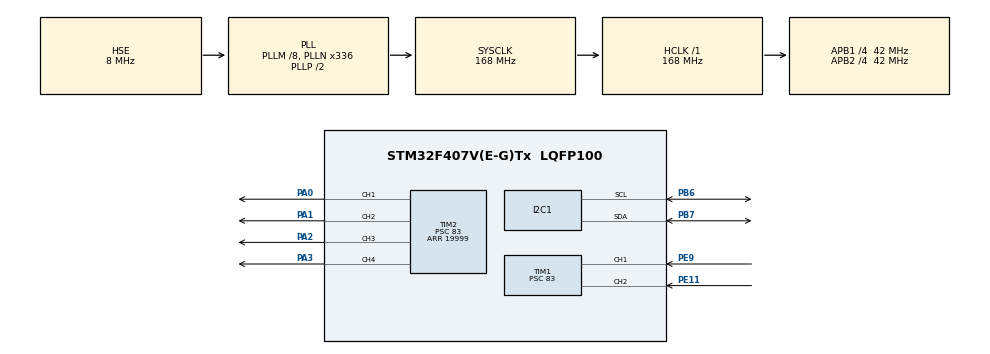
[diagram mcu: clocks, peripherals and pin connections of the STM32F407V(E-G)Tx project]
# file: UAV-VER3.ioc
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I2C1.I2C_Mode=I2C_Fast
Mcu.Family=STM32F4
Mcu.Name=STM32F407V(E-G)Tx
Mcu.Package=LQFP100
NVIC.PriorityGroup=NVIC_PRIORITYGROUP_4
NVIC.TIM1_CC_IRQn=true\:0\:0\:true\:false\:true\:true\:true
NVIC.TIM3_IRQn=true\:0\:0\:true\:false\:true\:true\:true
PA0-WKUP.Signal=S_TIM2_CH1_ETR
PA1.Signal=S_TIM2_CH2
PA2.Signal=S_TIM2_CH3
PA3.Signal=S_TIM2_CH4
PB6.Mode=I2C
PB6.Signal=I2C1_SCL
PB7.Mode=I2C
PB7.Signal=I2C1_SDA
PE11.Signal=S_TIM1_CH2
PE9.Signal=S_TIM1_CH1
PH0-OSC_IN.Mode=HSE-External-Oscillator
PH0-OSC_IN.Signal=RCC_OSC_IN
PH1-OSC_OUT.Mode=HSE-External-Oscillator
PH1-OSC_OUT.Signal=RCC_OSC_OUT
ProjectManager.HeapSize=0x200
ProjectManager.StackSize=0x400
ProjectManager.TargetToolchain=MDK-ARM V5
RCC.48MHZClocksFreq_Value=84000000
RCC.AHBFreq_Value=168000000
RCC.APB1CLKDivider=RCC_HCLK_DIV4
RCC.APB1Freq_Value=42000000
RCC.APB1TimFreq_Value=84000000
RCC.APB2CLKDivider=RCC_HCLK_DIV4
RCC.APB2Freq_Value=42000000
RCC.APB2TimFreq_Value=84000000
RCC.CortexFreq_Value=168000000
RCC.HCLKFreq_Value=168000000
RCC.HSE_VALUE=8000000
RCC.HSI_VALUE=16000000
RCC.LSE_VALUE=32768
RCC.PLLM=8
RCC.PLLN=336
RCC.PLLSourceVirtual=RCC_PLLSOURCE_HSE
RCC.SYSCLKFreq_VALUE=168000000
RCC.SYSCLKSource=RCC_SYSCLKSOURCE_PLLCLK
RCC.VCOOutputFreq_Value=336000000
SH.S_TIM1_CH1.0=TIM1_CH1,Input_Capture1_from_TI1
SH.S_TIM1_CH2.0=TIM1_CH2,Input_Capture2_from_TI2
SH.S_TIM2_CH1_ETR.0=TIM2_CH1,PWM Generation1 CH1
SH.S_TIM2_CH2.0=TIM2_CH2,PWM Generation2 CH2
SH.S_TIM2_CH3.0=TIM2_CH3,PWM Generation3 CH3
SH.S_TIM2_CH4.0=TIM2_CH4,PWM Generation4 CH4
TIM1.Channel-Input_Capture1_from_TI1=TIM_CHANNEL_1
TIM1.Channel-Input_Capture2_from_TI2=TIM_CHANNEL_2
TIM1.ICFilter_CH1=15
TIM1.ICFilter_CH2=15
TIM1.ICPolarity_CH1=TIM_INPUTCHANNELPOLARITY_BOTHEDGE
TIM1.ICPolarity_CH2=TIM_INPUTCHANNELPOLARITY_BOTHEDGE
TIM1.Period=29999
TIM1.Prescaler=83
TIM2.Channel-PWM\ Generation1\ CH1=TIM_CHANNEL_1
TIM2.Channel-PWM\ Generation2\ CH2=TIM_CHANNEL_2
TIM2.Channel-PWM\ Generation3\ CH3=TIM_CHANNEL_3
TIM2.Channel-PWM\ Generation4\ CH4=TIM_CHANNEL_4
TIM2.Period=19999
TIM2.Prescaler=83
TIM3.Period=179
TIM3.Prescaler=839
VP_TIM1_VS_ClockSourceINT.Mode=Internal
VP_TIM2_VS_ClockSourceINT.Mode=Internal
VP_TIM3_VS_ClockSourceINT.Mode=Internal
board=custom

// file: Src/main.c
/* USER CODE BEGIN Header */
/**
  ******************************************************************************
  * @file           : main.c
  * @brief          : Main program body
  ******************************************************************************
  ** This notice applies to any and all portions of this file
  * that are not between comment pairs USER CODE BEGIN and
  * USER CODE END. Other portions of this file, whether
  * inserted by the user or by software development tools
  * are owned by their respective copyright owners.
  *
  * COPYRIGHT(c) 2019 STMicroelectronics
  *
  * Redistribution and use in source and binary forms, with or without modification,
  * are permitted provided that the following conditions are met:
  *   1. Redistributions of source code must retain the above copyright notice,
  *      this list of conditions and the following disclaimer.
  *   2. Redistributions in binary form must reproduce the above copyright notice,
  *      this list of conditions and the following disclaimer in the documentation
  *      and/or other materials provided with the distribution.
  *   3. Neither the name of STMicroelectronics nor the names of its contributors
  *      may be used to endorse or promote products derived from this software
  *      without specific prior written permission.
  *
  * THIS SOFTWARE IS PROVIDED BY THE COPYRIGHT HOLDERS AND CONTRIBUTORS "AS IS"
  * AND ANY EXPRESS OR IMPLIED WARRANTIES, INCLUDING, BUT NOT LIMITED TO, THE
  * IMPLIED WARRANTIES OF MERCHANTABILITY AND FITNESS FOR A PARTICULAR PURPOSE ARE
  * DISCLAIMED. IN NO EVENT SHALL THE COPYRIGHT HOLDER OR CONTRIBUTORS BE LIABLE
  * FOR ANY DIRECT, INDIRECT, INCIDENTAL, SPECIAL, EXEMPLARY, OR CONSEQUENTIAL
  * DAMAGES (INCLUDING, BUT NOT LIMITED TO, PROCUREMENT OF SUBSTITUTE GOODS OR
  * SERVICES; LOSS OF USE, DATA, OR PROFITS; OR BUSINESS INTERRUPTION) HOWEVER
  * CAUSED AND ON ANY THEORY OF LIABILITY, WHETHER IN CONTRACT, STRICT LIABILITY,
  * OR TORT (INCLUDING NEGLIGENCE OR OTHERWISE) ARISING IN ANY WAY OUT OF THE USE
  * OF THIS SOFTWARE, EVEN IF ADVISED OF THE POSSIBILITY OF SUCH DAMAGE.
  *
  ******************************************************************************
  */
/* USER CODE END Header */

#include "main.h"

/* USER CODE BEGIN Includes */
#include "mpu9255.h"
#include "IMU.h"
#include <math.h>
//#include "PWM_to_F.h"
/* USER CODE END Includes */

/* USER CODE BEGIN PD */
#define 	SAFETY_START 					1
#define		TX_CONTROLLER					1
#define		RUNNING_TIME					4000
#define 	AUTO_RUN							0
#define		YAW_CONTROLLER				1

//#define		KP_ROLL_PITCH					2.8f
//#define		KP_ROLL_PITCH_OMEGA		2.5f
//#define		KI_ROLL_PITCH_OMEGA		0.0122f
//#define		KD_ROLL_PITCH_OMEGA		12.3f
//#define		PID_MAX								450.0f
//#define		PID_MAX_INTEGRAL			300.0f

#define		KP_ROLL_PITCH					1.3f
#define		KP_ROLL_PITCH_OMEGA		1.2f
#define		KI_ROLL_PITCH_OMEGA		0.0062f
#define		KD_ROLL_PITCH_OMEGA		3.0f
#define		PID_MAX_ROLL_PITCH		450.0f
#define		PID_MAX_RP_INTEGRAL		300.0f

#define 	KP_YAW_OMEGA					0.0f
#define 	KI_YAW_OMEGA					0.0f
#define		KD_YAW_OMEGA					0.0f
#define 	PID_MAX_YAW_INTEGRAL	80.0f
#define		PID_MAX_YAW						100.0f

/* USER CODE END PD */

I2C_HandleTypeDef hi2c1;

TIM_HandleTypeDef htim1;
TIM_HandleTypeDef htim2;
TIM_HandleTypeDef htim3;

/* USER CODE BEGIN PV */
uint32_t count = 0, ii= 0 ,ga = 0, iii = 0, start = 0;
float channel_3 = 0, channel_1 = 0, channel_5;
volatile uint16_t esc1 = 1000, esc2 = 1000 , esc3 = 1000, esc4 = 1000; // Cap PWM cho dong co : 1000-2000
volatile float esc1_f = 0, esc2_f = 0, esc3_f =0, esc4_f =0, ga_f = 0;
extern uint8_t buffer3[21];
extern float roll, pitch, yaw;
extern float gyro_that[3];

/////////////////PID CONSTANTS/////////////////
double kp_roll = KP_ROLL_PITCH;//2.75
double ki_roll = 0.0f;//0.01
double kd_roll = 0.0f;//1.5
float pid_output_roll = 0, pid_error_temp_roll = 0, pid_i_mem_roll = 0, pid_last_roll_d_error =0 ;
float pid_max_roll = 50.0f ;

float pid_output_roll_omega = 0, pid_error_temp_roll_omega = 0, pid_i_mem_roll_omega = 0, pid_last_roll_d_error_omega = 0 ;
double kp_roll_omega = KP_ROLL_PITCH_OMEGA;//2.75
double ki_roll_omega = KI_ROLL_PITCH_OMEGA;//0.01
double kd_roll_omega = KD_ROLL_PITCH_OMEGA;//1.5

float pid_max_roll_omega_integral = PID_MAX_RP_INTEGRAL;
float pid_max_roll_omega = PID_MAX_ROLL_PITCH;

///////////////////////////////////////////////
double kp_pitch = KP_ROLL_PITCH;     //0.02
double ki_pitch = 0.0f;  //0.00004
double kd_pitch = 0.0f;   //0.01
float pid_output_pitch = 0, pid_error_temp_pitch = 0, pid_i_mem_pitch = 0, pid_last_pitch_d_error =0 ;
float pid_max_pitch = 50.0f ;

double kp_pitch_omega = KP_ROLL_PITCH_OMEGA;     //0.02
double ki_pitch_omega = KI_ROLL_PITCH_OMEGA;  //0.00004
double kd_pitch_omega = KD_ROLL_PITCH_OMEGA;   //0.01
float pid_output_pitch_omega = 0, pid_error_temp_pitch_omega = 0, pid_i_mem_pitch_omega = 0, pid_last_pitch_d_error_omega =0 ;

float pid_max_pitch_omega_integral = PID_MAX_RP_INTEGRAL;
float pid_max_pitch_omega = PID_MAX_ROLL_PITCH ;

////////////////////////////////////////////////
float yaw_offset = 0, yaw_offset_tmp = 0;
uint8_t i_yaw = 0;
double kp_yaw = 0.5;
double ki_yaw = 0;
double kd_yaw = 0;
float pid_output_yaw = 0, pid_error_temp_yaw = 0, pid_i_mem_yaw = 0, pid_last_yaw_d_error = 0;
float pid_max_yaw = 100;

double kp_yaw_omega = KP_YAW_OMEGA;
double ki_yaw_omega = KI_YAW_OMEGA;
double kd_yaw_omega = KD_YAW_OMEGA;
float pid_output_yaw_omega = 0, pid_error_temp_yaw_omega = 0, pid_i_mem_yaw_omega = 0, pid_last_yaw_d_error_omega = 0;
float pid_max_yaw_omega = PID_MAX_YAW;
float pid_max_yaw_omega_integral = PID_MAX_YAW_INTEGRAL;

//----------------------
//extern TM_MPU6050_t	MPU6050_Data0;
//extern TM_HMC_t			HMC_Data;

uint16_t 	Gyroscope_X_offset=0,Gyroscope_Y_offset=0,Gyroscope_Z_offset=0,Accelerometer_X_offset=0,Accelerometer_Y_offset=0,Accelerometer_Z_offset=0;

uint8_t read_channel_1 = 0;
uint8_t read_channel_2 = 0;
uint8_t read_channel_3 = 0;
uint8_t read_channel_4 = 0;
uint8_t read_channel_5 = 0;
uint8_t read_channel_6 = 0;

uint8_t controller_start = 0;
uint32_t running_timer = 0, running_timer_counter = 0, start_running = 0;
uint8_t start_button = 0;
uint32_t start_button_counter = 0;

/* USER CODE END PV */

void SystemClock_Config(void);
static void MX_GPIO_Init(void);
static void MX_TIM1_Init(void);
static void MX_TIM3_Init(void);
static void MX_TIM2_Init(void);
static void MX_I2C1_Init(void);
/* USER CODE BEGIN PFP */
void HAL_TIM_IC_CaptureCallback(TIM_HandleTypeDef *htim)
{
	if (htim->Instance == TIM1)
		{
			if (htim->Channel == HAL_TIM_ACTIVE_CHANNEL_1)
			{
				if(HAL_GPIO_ReadPin(GPIOE,GPIO_PIN_9) == 1)
				{
					__HAL_TIM_SetCounter(&htim1, 0);
				}
				else
				{
					channel_3 = __HAL_TIM_GetCompare(&htim1, TIM_CHANNEL_1);
				}
			}
			if (htim->Channel == HAL_TIM_ACTIVE_CHANNEL_2)
			{
				if(HAL_GPIO_ReadPin(GPIOE,GPIO_PIN_11) == 1)
				{
					__HAL_TIM_SetCounter(&htim1, 0);
				}
				else
				{
					channel_1 = __HAL_TIM_GetCompare(&htim1, TIM_CHANNEL_2);
				}
			}
			if(htim->Channel == HAL_TIM_ACTIVE_CHANNEL_3)
			{
        if(HAL_GPIO_ReadPin(GPIOE,GPIO_PIN_13)==1)
				{

					__HAL_TIM_SetCounter(&htim1,0);
				}
				else
				{
					channel_5 = __HAL_TIM_GetCompare(&htim1,TIM_CHANNEL_3);
				}
			}

		}
}
/* PID CONTROLLER */
void PID_Controller_Angles(void)
{

	//Roll calculations///////////////////////////////////////////
	pid_error_temp_roll = 0.0f - roll ;

	pid_i_mem_roll += ki_roll * pid_error_temp_roll;

	if (pid_i_mem_roll > pid_max_roll) pid_i_mem_roll = pid_max_roll;
	else
			if (pid_i_mem_roll < pid_max_roll * -1) pid_i_mem_roll = pid_max_roll * -1;

	pid_output_roll = kp_roll * pid_error_temp_roll + pid_i_mem_roll + (-kd_roll)*(pid_error_temp_roll - pid_last_roll_d_error);

	if( pid_output_roll > pid_max_roll) pid_output_roll = pid_max_roll;
	else
			if (pid_output_roll < pid_max_roll * -1) pid_output_roll = pid_max_roll * -1;

	pid_last_roll_d_error = pid_error_temp_roll;

	//Pitch calculations///////////////////////////////////////////
	pid_error_temp_pitch = 0.0f - pitch ;

	pid_i_mem_pitch += ki_pitch * pid_error_temp_pitch;

	if (pid_i_mem_pitch > pid_max_pitch) pid_i_mem_pitch = pid_max_pitch;
	else
			if (pid_i_mem_pitch < pid_max_pitch*-1) pid_i_mem_pitch = pid_max_pitch*-1;

	pid_output_pitch = kp_roll * pid_error_temp_pitch + pid_i_mem_pitch + (-kd_pitch)*(pid_error_temp_pitch - pid_last_pitch_d_error);

	if (pid_output_pitch > pid_max_pitch) pid_output_pitch = pid_max_pitch;
	else
			if (pid_output_pitch < pid_max_pitch*-1) pid_output_pitch = pid_max_pitch * -1;

	pid_last_pitch_d_error = pid_error_temp_pitch;

	//Yaw calculations/////////////////////////////////////////////
	pid_error_temp_yaw = 0.0f - yaw;

	pid_i_mem_yaw += ki_yaw*pid_error_temp_yaw;

	if (pid_i_mem_yaw > pid_max_yaw) pid_i_mem_yaw = pid_max_yaw;
	else if (pid_i_mem_yaw < pid_max_yaw*(-1)) pid_i_mem_yaw = pid_max_yaw*(-1);

	pid_output_yaw = kp_yaw*pid_error_temp_yaw + pid_i_mem_yaw + (-kd_yaw)*(pid_error_temp_yaw - pid_last_yaw_d_error);

	if (pid_output_yaw > pid_max_yaw) pid_output_yaw = pid_max_yaw;
	else if (pid_output_yaw < pid_max_yaw*(-1)) pid_output_yaw = pid_max_yaw*(-1);

	pid_last_yaw_d_error = pid_error_temp_yaw;

	count++;

}

int sign_output_roll, pre_sign_output_roll = 1;
int sign_output_pitch, pre_sign_output_pitch = 1;
int sign_output_yaw, pre_sign_output_yaw = 1;

void PID_Controller_Omega(float dt)
{
	//Omega roll calculation//////////////////////////////////////////
	pid_error_temp_roll_omega = pid_output_roll - gyro_that[0] ;

	pid_i_mem_roll_omega += ki_roll_omega * pid_error_temp_roll_omega;

	if (pid_i_mem_roll_omega > pid_max_roll_omega_integral) pid_i_mem_roll_omega = pid_max_roll_omega_integral;
	else if (pid_i_mem_roll_omega < pid_max_roll_omega_integral * (-1)) pid_i_mem_roll_omega = pid_max_roll_omega_integral * (-1);

	pid_output_roll_omega = kp_roll_omega*pid_error_temp_roll_omega + pid_i_mem_roll_omega + kd_roll_omega * (pid_error_temp_roll_omega - pid_last_roll_d_error_omega);

	if (pid_output_roll_omega > pid_max_roll_omega) pid_output_roll_omega = pid_max_roll_omega;
	else if (pid_output_roll_omega < pid_max_roll_omega * (-1)) pid_output_roll_omega = pid_max_roll_omega * (-1);

	pid_last_roll_d_error_omega = pid_error_temp_roll_omega;

	//Omega pitch calculation//////////////////////////////////////////
	pid_error_temp_pitch_omega = pid_output_pitch - gyro_that[1] ;

	pid_i_mem_pitch_omega += ki_pitch_omega * pid_error_temp_pitch_omega;

	if (pid_i_mem_pitch_omega > pid_max_pitch_omega_integral) pid_i_mem_pitch_omega = pid_max_pitch_omega_integral;
	else if (pid_i_mem_pitch_omega < pid_max_pitch_omega_integral * (-1)) pid_i_mem_pitch_omega = pid_max_pitch_omega_integral * (-1);

	pid_output_pitch_omega = kp_pitch_omega * pid_error_temp_pitch_omega + pid_i_mem_pitch_omega + kd_pitch_omega * (pid_error_temp_pitch_omega - pid_last_pitch_d_error_omega);

	if (pid_output_pitch_omega > pid_max_pitch_omega) pid_output_pitch_omega = pid_max_pitch_omega;
	else if (pid_output_pitch_omega < pid_max_pitch_omega * (-1)) pid_output_pitch_omega = pid_max_pitch_omega * (-1);

	pid_last_pitch_d_error_omega = pid_error_temp_pitch_omega;

	//Omega yaw calculation//////////////////////////////////////////
	pid_error_temp_yaw_omega = pid_output_yaw - gyro_that[2];

	pid_i_mem_yaw_omega += ki_yaw_omega * pid_error_temp_yaw_omega;

	if (pid_i_mem_yaw_omega > pid_max_yaw_omega_integral) pid_i_mem_yaw_omega = pid_max_yaw_omega_integral;
	else if (pid_i_mem_yaw_omega < pid_max_yaw_omega_integral * (-1)) pid_i_mem_yaw_omega = pid_max_yaw_omega_integral * (-1);

	pid_output_yaw_omega = kp_yaw_omega * pid_error_temp_yaw_omega + pid_i_mem_yaw_omega + kd_yaw_omega * (pid_error_temp_yaw_omega - pid_last_yaw_d_error_omega);

	if (pid_output_yaw_omega > pid_max_yaw_omega) pid_output_yaw_omega = pid_max_yaw_omega;
	else if (pid_output_yaw_omega < pid_max_yaw_omega * (-1)) pid_output_yaw_omega = pid_max_yaw_omega * (-1);

	pid_last_yaw_d_error_omega = pid_error_temp_yaw_omega;

}

/* USER CODE END PFP */

/* USER CODE BEGIN 0 */
uint32_t control_delay;
uint32_t w_control_timer, w_control_timer_raw, w_control_timer_pre;

void HAL_TIM_PeriodElapsedCallback(TIM_HandleTypeDef *htim)
{
	if(htim->Instance == TIM3)
	{
		controller_start = 1;
	}
}
/* USER CODE END 0 */

int main(void)
{

  /* MCU Configuration--------------------------------------------------------*/

  /* Reset of all peripherals, Initializes the Flash interface and the Systick. */
  HAL_Init();

  /* Configure the system clock */
  SystemClock_Config();

  /* Initialize all configured peripherals */
  MX_GPIO_Init();
  MX_TIM1_Init();
  MX_TIM3_Init();
  MX_TIM2_Init();
  MX_I2C1_Init();
  /* USER CODE BEGIN 2 */
	Init_button_and_led();

	MPU9255_Init();
	InitGyrOffset();

	HAL_TIM_PWM_Start(&htim2, TIM_CHANNEL_1);
	HAL_TIM_PWM_Start(&htim2, TIM_CHANNEL_2);
	HAL_TIM_PWM_Start(&htim2, TIM_CHANNEL_3);
	HAL_TIM_PWM_Start(&htim2, TIM_CHANNEL_4);

	/*----Xuat PWM ra dong co -----*/
	__HAL_TIM_SetCompare(&htim2, TIM_CHANNEL_1 , 1000 ); //PA0
	__HAL_TIM_SetCompare(&htim2, TIM_CHANNEL_2 , 1000 ); //PA1
	__HAL_TIM_SetCompare(&htim2, TIM_CHANNEL_3 , 1000 ); //PA2
	__HAL_TIM_SetCompare(&htim2, TIM_CHANNEL_4 , 1000 ); //PA3
	HAL_Delay(2500);
	HAL_GPIO_WritePin(GPIOD, GPIO_PIN_15, GPIO_PIN_SET);

	HAL_TIM_IC_Start_IT(&htim1, TIM_CHANNEL_1);
	HAL_TIM_IC_Start_IT(&htim1, TIM_CHANNEL_2);
	HAL_TIM_IC_Start_IT(&htim1, TIM_CHANNEL_3);

	control_delay = TIM1->CNT;
	while ((TIM1->CNT - control_delay) < 500) {};
	HAL_TIM_Base_Start_IT(&htim3);

	start = 1;

  /* USER CODE END 2 */

  /* Infinite loop */
  /* USER CODE BEGIN WHILE */
  while (1)
  {
		if (controller_start == 1){
			controller();
			controller_start = 0;
		}
    /* USER CODE END WHILE */

  }
}

void SystemClock_Config(void)
{
  RCC_OscInitTypeDef RCC_OscInitStruct = {0};
  RCC_ClkInitTypeDef RCC_ClkInitStruct = {0};

  /** Configure the main internal regulator output voltage
  */
  __HAL_RCC_PWR_CLK_ENABLE();
  __HAL_PWR_VOLTAGESCALING_CONFIG(PWR_REGULATOR_VOLTAGE_SCALE1);
  /** Initializes the CPU, AHB and APB busses clocks
  */
  RCC_OscInitStruct.OscillatorType = RCC_OSCILLATORTYPE_HSE;
  RCC_OscInitStruct.HSEState = RCC_HSE_ON;
  RCC_OscInitStruct.PLL.PLLState = RCC_PLL_ON;
  RCC_OscInitStruct.PLL.PLLSource = RCC_PLLSOURCE_HSE;
  RCC_OscInitStruct.PLL.PLLM = 8;
  RCC_OscInitStruct.PLL.PLLN = 336;
  RCC_OscInitStruct.PLL.PLLP = RCC_PLLP_DIV2;
  RCC_OscInitStruct.PLL.PLLQ = 4;
  if (HAL_RCC_OscConfig(&RCC_OscInitStruct) != HAL_OK)
  {
    Error_Handler();
  }
  /** Initializes the CPU, AHB and APB busses clocks
  */
  RCC_ClkInitStruct.ClockType = RCC_CLOCKTYPE_HCLK|RCC_CLOCKTYPE_SYSCLK
                              |RCC_CLOCKTYPE_PCLK1|RCC_CLOCKTYPE_PCLK2;
  RCC_ClkInitStruct.SYSCLKSource = RCC_SYSCLKSOURCE_PLLCLK;
  RCC_ClkInitStruct.AHBCLKDivider = RCC_SYSCLK_DIV1;
  RCC_ClkInitStruct.APB1CLKDivider = RCC_HCLK_DIV4;
  RCC_ClkInitStruct.APB2CLKDivider = RCC_HCLK_DIV4;

  if (HAL_RCC_ClockConfig(&RCC_ClkInitStruct, FLASH_LATENCY_5) != HAL_OK)
  {
    Error_Handler();
  }
}

static void MX_I2C1_Init(void)
{

  hi2c1.Instance = I2C1;
  hi2c1.Init.ClockSpeed = 400000;
  hi2c1.Init.DutyCycle = I2C_DUTYCYCLE_2;
  hi2c1.Init.OwnAddress1 = 0;
  hi2c1.Init.AddressingMode = I2C_ADDRESSINGMODE_7BIT;
  hi2c1.Init.DualAddressMode = I2C_DUALADDRESS_DISABLE;
  hi2c1.Init.OwnAddress2 = 0;
  hi2c1.Init.GeneralCallMode = I2C_GENERALCALL_DISABLE;
  hi2c1.Init.NoStretchMode = I2C_NOSTRETCH_DISABLE;
  if (HAL_I2C_Init(&hi2c1) != HAL_OK)
  {
    Error_Handler();
  }

}

static void MX_TIM1_Init(void)
{

  TIM_ClockConfigTypeDef sClockSourceConfig = {0};
  TIM_MasterConfigTypeDef sMasterConfig = {0};
  TIM_IC_InitTypeDef sConfigIC = {0};

  htim1.Instance = TIM1;
  htim1.Init.Prescaler = 83;
  htim1.Init.CounterMode = TIM_COUNTERMODE_UP;
  htim1.Init.Period = 29999;
  htim1.Init.ClockDivision = TIM_CLOCKDIVISION_DIV1;
  htim1.Init.RepetitionCounter = 0;
  htim1.Init.AutoReloadPreload = TIM_AUTORELOAD_PRELOAD_DISABLE;
  if (HAL_TIM_Base_Init(&htim1) != HAL_OK)
  {
    Error_Handler();
  }
  sClockSourceConfig.ClockSource = TIM_CLOCKSOURCE_INTERNAL;
  if (HAL_TIM_ConfigClockSource(&htim1, &sClockSourceConfig) != HAL_OK)
  {
    Error_Handler();
  }
  if (HAL_TIM_IC_Init(&htim1) != HAL_OK)
  {
    Error_Handler();
  }
  sMasterConfig.MasterOutputTrigger = TIM_TRGO_RESET;
  sMasterConfig.MasterSlaveMode = TIM_MASTERSLAVEMODE_DISABLE;
  if (HAL_TIMEx_MasterConfigSynchronization(&htim1, &sMasterConfig) != HAL_OK)
  {
    Error_Handler();
  }
  sConfigIC.ICPolarity = TIM_INPUTCHANNELPOLARITY_BOTHEDGE;
  sConfigIC.ICSelection = TIM_ICSELECTION_DIRECTTI;
  sConfigIC.ICPrescaler = TIM_ICPSC_DIV1;
  sConfigIC.ICFilter = 15;
  if (HAL_TIM_IC_ConfigChannel(&htim1, &sConfigIC, TIM_CHANNEL_1) != HAL_OK)
  {
    Error_Handler();
  }
  if (HAL_TIM_IC_ConfigChannel(&htim1, &sConfigIC, TIM_CHANNEL_2) != HAL_OK)
  {
    Error_Handler();
  }
  /* USER CODE BEGIN TIM1_Init 2 */
  if (HAL_TIM_IC_ConfigChannel(&htim1, &sConfigIC, TIM_CHANNEL_3) != HAL_OK)
  {
    Error_Handler();
	}

  /* USER CODE END TIM1_Init 2 */

}

static void MX_TIM2_Init(void)
{

  TIM_ClockConfigTypeDef sClockSourceConfig = {0};
  TIM_MasterConfigTypeDef sMasterConfig = {0};
  TIM_OC_InitTypeDef sConfigOC = {0};

  htim2.Instance = TIM2;
  htim2.Init.Prescaler = 83;
  htim2.Init.CounterMode = TIM_COUNTERMODE_UP;
  htim2.Init.Period = 19999;
  htim2.Init.ClockDivision = TIM_CLOCKDIVISION_DIV1;
  htim2.Init.AutoReloadPreload = TIM_AUTORELOAD_PRELOAD_DISABLE;
  if (HAL_TIM_Base_Init(&htim2) != HAL_OK)
  {
    Error_Handler();
  }
  sClockSourceConfig.ClockSource = TIM_CLOCKSOURCE_INTERNAL;
  if (HAL_TIM_ConfigClockSource(&htim2, &sClockSourceConfig) != HAL_OK)
  {
    Error_Handler();
  }
  if (HAL_TIM_PWM_Init(&htim2) != HAL_OK)
  {
    Error_Handler();
  }
  sMasterConfig.MasterOutputTrigger = TIM_TRGO_RESET;
  sMasterConfig.MasterSlaveMode = TIM_MASTERSLAVEMODE_DISABLE;
  if (HAL_TIMEx_MasterConfigSynchronization(&htim2, &sMasterConfig) != HAL_OK)
  {
    Error_Handler();
  }
  sConfigOC.OCMode = TIM_OCMODE_PWM1;
  sConfigOC.Pulse = 0;
  sConfigOC.OCPolarity = TIM_OCPOLARITY_HIGH;
  sConfigOC.OCFastMode = TIM_OCFAST_DISABLE;
  if (HAL_TIM_PWM_ConfigChannel(&htim2, &sConfigOC, TIM_CHANNEL_1) != HAL_OK)
  {
    Error_Handler();
  }
  if (HAL_TIM_PWM_ConfigChannel(&htim2, &sConfigOC, TIM_CHANNEL_2) != HAL_OK)
  {
    Error_Handler();
  }
  if (HAL_TIM_PWM_ConfigChannel(&htim2, &sConfigOC, TIM_CHANNEL_3) != HAL_OK)
  {
    Error_Handler();
  }
  if (HAL_TIM_PWM_ConfigChannel(&htim2, &sConfigOC, TIM_CHANNEL_4) != HAL_OK)
  {
    Error_Handler();
  }
  HAL_TIM_MspPostInit(&htim2);

}

static void MX_TIM3_Init(void)
{

  TIM_ClockConfigTypeDef sClockSourceConfig = {0};
  TIM_MasterConfigTypeDef sMasterConfig = {0};

  htim3.Instance = TIM3;
  htim3.Init.Prescaler = 83;
  htim3.Init.CounterMode = TIM_COUNTERMODE_UP;
  htim3.Init.Period = 1999;
  htim3.Init.ClockDivision = TIM_CLOCKDIVISION_DIV1;
  htim3.Init.AutoReloadPreload = TIM_AUTORELOAD_PRELOAD_DISABLE;
  if (HAL_TIM_Base_Init(&htim3) != HAL_OK)
  {
    Error_Handler();
  }
  sClockSourceConfig.ClockSource = TIM_CLOCKSOURCE_INTERNAL;
  if (HAL_TIM_ConfigClockSource(&htim3, &sClockSourceConfig) != HAL_OK)
  {
    Error_Handler();
  }
  sMasterConfig.MasterOutputTrigger = TIM_TRGO_RESET;
  sMasterConfig.MasterSlaveMode = TIM_MASTERSLAVEMODE_DISABLE;
  if (HAL_TIMEx_MasterConfigSynchronization(&htim3, &sMasterConfig) != HAL_OK)
  {
    Error_Handler();
  }

}

static void MX_GPIO_Init(void)
{

  /* GPIO Ports Clock Enable */
  __HAL_RCC_GPIOH_CLK_ENABLE();
  __HAL_RCC_GPIOA_CLK_ENABLE();
  __HAL_RCC_GPIOE_CLK_ENABLE();
  __HAL_RCC_GPIOB_CLK_ENABLE();

}

/* USER CODE BEGIN 4 */
uint32_t channel_1_buffer[2] = {0, 0};
uint32_t channel_3_buffer[2] = {0, 0};
float channel_1_raw, channel_1_pre;
float channel_3_raw, channel_3_pre;

void Init_button_and_led(void){
		GPIO_InitTypeDef GPIO_Init;

	__HAL_RCC_GPIOD_CLK_ENABLE();

	GPIO_Init.Pin = GPIO_PIN_12;
	GPIO_Init.Mode = GPIO_MODE_OUTPUT_PP;
	GPIO_Init.Speed = GPIO_SPEED_FREQ_MEDIUM;
	GPIO_Init.Pull = GPIO_PULLDOWN;
	HAL_GPIO_Init(GPIOD, &GPIO_Init);

	GPIO_Init.Pin = GPIO_PIN_13;
	HAL_GPIO_Init(GPIOD, &GPIO_Init);

	GPIO_Init.Pin = GPIO_PIN_14;
	HAL_GPIO_Init(GPIOD, &GPIO_Init);

	GPIO_Init.Pin = GPIO_PIN_15;
	HAL_GPIO_Init(GPIOD, &GPIO_Init);

}

void read_channel_1_handler(void){

}

void read_channel_2_handler(void){

}

void read_channel_3_handler(void){

}

void read_channel_4_handler(void){

}

void read_channel_5_handler(void){

}

void read_channel_6_handler(void){

}

static int controller_counter = 0;
static uint32_t dt_pre, dt_raw;
static float dt = 0.002f;

void controller(void)
{
#if SAFETY_START
	if (start == 0) {

		__HAL_TIM_SetCompare(&htim2, TIM_CHANNEL_1, 1000);
		__HAL_TIM_SetCompare(&htim2, TIM_CHANNEL_2, 1000);
		__HAL_TIM_SetCompare(&htim2, TIM_CHANNEL_3, 1000);
		__HAL_TIM_SetCompare(&htim2, TIM_CHANNEL_4, 1000);

	}
	else if (start == 1)
	{
#endif
		MPU9255_Get_Data();
		IMU_GetYawPitchRoll();

#if AUTO_RUN
		running_timer_counter++;
		controller_counter++;
		if (running_timer_counter == 500){
			running_timer++;
			running_timer_counter = 0;
		}
		if (running_timer == RUNNING_TIME){
			start = 0;
		}
#endif

		ii++;
		if (ii == 10)
		{
			ii = 0;
			iii++;
			if ( iii == 5 )
			{
				iii = 0;
				PID_Controller_Angles();
			}
			dt_raw = TIM3->CNT;
			dt = 0.002f + dt_raw * 0.000001f - dt_pre * 0.000001f;
			dt_pre = dt_raw;

			PID_Controller_Omega(dt);

#if TX_CONTROLLER
			if (channel_5 > 1500)
			{
#endif

				ga = channel_3 ;
				if (ga >= 1500) ga = 1500;
				//ga = 1350;

#if YAW_CONTROLLER
				esc1 = ga - pid_output_roll_omega - pid_output_pitch_omega - pid_output_yaw_omega;   //MPU dat giua 2 truc
				esc2 = ga - pid_output_roll_omega + pid_output_pitch_omega + pid_output_yaw_omega;
				esc3 = ga + pid_output_roll_omega + pid_output_pitch_omega - pid_output_yaw_omega;
				esc4 = ga + pid_output_roll_omega - pid_output_pitch_omega + pid_output_yaw_omega;
#else
				esc1 = ga - pid_output_roll_omega - pid_output_pitch_omega;
				esc2 = ga - pid_output_roll_omega + pid_output_pitch_omega;
				esc3 = ga + pid_output_roll_omega + pid_output_pitch_omega;
				esc4 = ga + pid_output_roll_omega - pid_output_pitch_omega;
#endif

				if (esc1 < 1100) esc1 = 1100;                                                //Keep the motors running.
				if (esc2 < 1100) esc2 = 1100;                                                //Keep the motors running.
				if (esc3 < 1100) esc3 = 1100;                                                //Keep the motors running.
				if (esc4 < 1100) esc4 = 1100;                                                //Keep the motors running.

				if (esc1 > 1900) esc1 = 1900;                                                 //Limit the esc-1 pulse to 2000us.
				if (esc2 > 1900) esc2 = 1900;                                                 //Limit the esc-2 pulse to 2000us.
				if (esc3 > 1900) esc3 = 1900;                                                 //Limit the esc-3 pulse to 2000us.
				if (esc4 > 1900) esc4 = 1900;                                                 //Limit the esc-4 pulse to 2000us.
#if TX_CONTROLLER
			}
			else
			{

				esc1 = 1000;
				esc2 = 1000;
				esc3 = 1000;
				esc4 = 1000;

			}
#endif
		/*----Xuat PWM ra dong co -----*/

		esc1 = esc3 = 1000;
		//esc2 = esc4 = 1000;
		__HAL_TIM_SetCompare(&htim2, TIM_CHANNEL_1 , esc3 ); //PA0
		__HAL_TIM_SetCompare(&htim2, TIM_CHANNEL_2 , esc1 ); //PA1
		__HAL_TIM_SetCompare(&htim2, TIM_CHANNEL_3 , esc2 ); //PA2
		__HAL_TIM_SetCompare(&htim2, TIM_CHANNEL_4 , esc4 ); //PA3
		}
	}

}

int getsign(float c){
	if (c >= 0) return 1;
	else return -1;
}

float wrap_to_range_f(const float low, const float high, float x)
{
  /* Wrap x into interval [low, high) */
  /* Assumes high > low */

  const float range = high - low;

  if (range > 0.0f) {
    while (x >= high) {
      x -= range;
    }

    while (x < low) {
      x += range;
    }
  } else {
    x = low;
  }

  return x;
}

/* USER CODE END 4 */

void Error_Handler(void)
{
}

/************************ (C) COPYRIGHT STMicroelectronics *****END OF FILE****/
